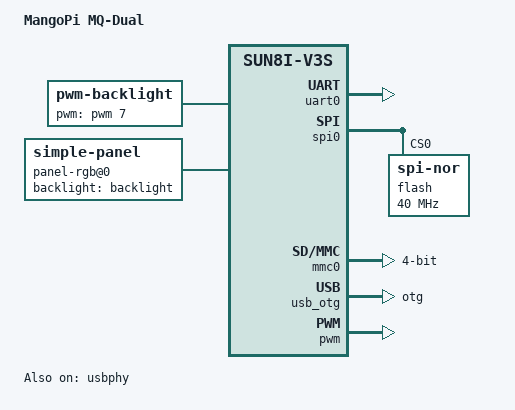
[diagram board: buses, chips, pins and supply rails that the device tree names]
/*
 * Copyright (C) 2016 Icenowy Zheng <icenowy@aosc.xyz>
 *
 * This file is dual-licensed: you can use it either under the terms
 * of the GPL or the X11 license, at your option. Note that this dual
 * licensing only applies to this file, and not this project as a
 * whole.
 *
 *  a) This file is free software; you can redistribute it and/or
 *     modify it under the terms of the GNU General Public License as
 *     published by the Free Software Foundation; either version 2 of the
 *     License, or (at your option) any later version.
 *
 *     This file is distributed in the hope that it will be useful,
 *     but WITHOUT ANY WARRANTY; without even the implied warranty of
 *     MERCHANTABILITY or FITNESS FOR A PARTICULAR PURPOSE.  See the
 *     GNU General Public License for more details.
 *
 * Or, alternatively,
 *
 *  b) Permission is hereby granted, free of charge, to any person
 *     obtaining a copy of this software and associated documentation
 *     files (the "Software"), to deal in the Software without
 *     restriction, including without limitation the rights to use,
 *     copy, modify, merge, publish, distribute, sublicense, and/or
 *     sell copies of the Software, and to permit persons to whom the
 *     Software is furnished to do so, subject to the following
 *     conditions:
 *
 *     The above copyright notice and this permission notice shall be
 *     included in all copies or substantial portions of the Software.
 *
 *     THE SOFTWARE IS PROVIDED "AS IS", WITHOUT WARRANTY OF ANY KIND,
 *     EXPRESS OR IMPLIED, INCLUDING BUT NOT LIMITED TO THE WARRANTIES
 *     OF MERCHANTABILITY, FITNESS FOR A PARTICULAR PURPOSE AND
 *     NONINFRINGEMENT. IN NO EVENT SHALL THE AUTHORS OR COPYRIGHT
 *     HOLDERS BE LIABLE FOR ANY CLAIM, DAMAGES OR OTHER LIABILITY,
 *     WHETHER IN AN ACTION OF CONTRACT, TORT OR OTHERWISE, ARISING
 *     FROM, OUT OF OR IN CONNECTION WITH THE SOFTWARE OR THE USE OR
 *     OTHER DEALINGS IN THE SOFTWARE.
 */

/dts-v1/;
#include "sun8i-t113.dtsi"
#include <dt-bindings/gpio/gpio.h>

/ {
	model = "MangoPi MQ-Dual";
	compatible = "allwinner,sun8i-v3s";

	aliases {
        mmc0 = &mmc0;
        serial0 = &uart0;
	};

	chosen {
        stdout-path = "serial0:115200n8";
	};

    backlight: backlight {
        compatible = "pwm-backlight";
        pwms = <&pwm 7 50000 0>;
        pinctrl-0 = <&pwm7_pd22_pin>;
        pinctrl-names = "default";
        brightness-levels = <0 2 4 8 16 32 64 128 255>;
        default-brightness-level = <7>;
    };

    panel-rgb@0 {
        compatible = "simple-panel";
        backlight = <&backlight>;

        display-timings {
            timing@0 {
                clock-frequency = <33000000>;
                hactive = <800>;
                vactive = <480>;
                hfront-porch = <40>;
                hback-porch = <87>;
                hsync-len = <1>;
                vfront-porch = <13>;
                vback-porch = <31>;
                vsync-len = <1>;
                hsync-active = <0>;
                vsync-active = <0>;
                de-active = <1>;
                pixelclk-active = <1>;
                bits-per-pixel = <18>;
            };
        };
    };
};

&uart0 {
	pinctrl-0 = <&uart0_pe_pins>;
	pinctrl-names = "default";
	status = "okay";
};

&spi0  {
	status = "okay";
	pinctrl-names = "default";
	pinctrl-0 = <&spi0_pins>, <&spi0_cs0_pin>;

	flash@0 {
		#address-cells = <1>;
		#size-cells = <1>;
		compatible = "jedec,spi-nor";
		reg = <0>;
		spi-max-frequency = <40000000>;
	};
};

&mmc0 {
	bus-width = <4>;
	// cd-gpios = <&pio 5 6 (GPIO_ACTIVE_LOW)>;
	pinctrl-0 = <&mmc0_pins>;
	pinctrl-names = "default";
	status = "okay";
};

&usb_otg {
	dr_mode = "otg";
	status = "okay";
};

&usbphy {
	// usb0_vbus-supply = <&reg_usbvbus>;
	// usb1_vbus-supply = <&reg_usbvbus>;
	status = "okay";
};

&pwm {
    status = "okay";
};

&ehci1 {
    status = "disable";
};

&ohci1 {
    status = "disable";
};
